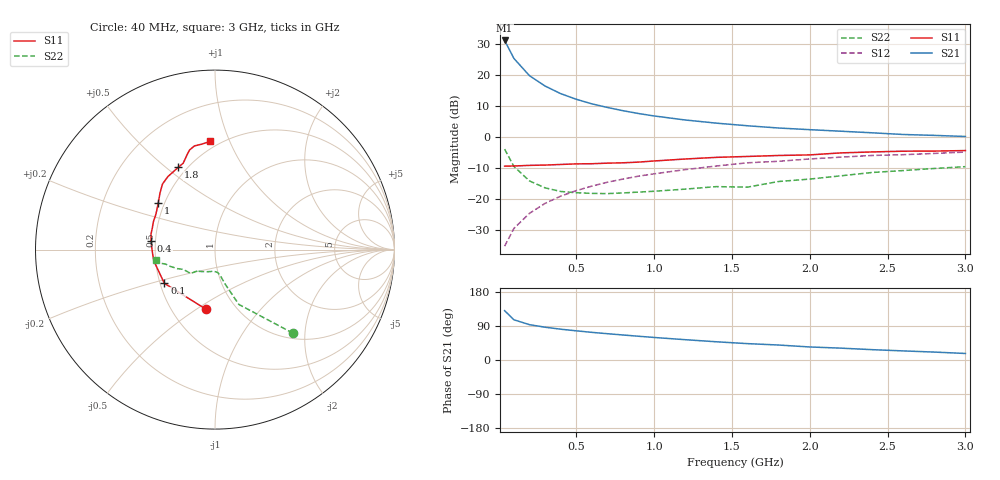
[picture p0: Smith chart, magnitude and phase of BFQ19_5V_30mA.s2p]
! Filename:  BFQ19B.S2P  Version:  2.0
! Philips part #: BFQ19  Date: Jul 1990
! Bias condition: Vce=5V, Ic=30mA
#  MHz  S  MA  R  50
! Freq  S11  S21  S12  S22  !GUM [dB]
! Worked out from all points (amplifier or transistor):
!   21 points, 40 MHz to 3 GHz, reference 50 ohm
!   highest |S21| = 31.3 dB at 40 MHz (marker M1)
!   |S21| within 3 dB of that: start of sweep to 70.79 MHz
!   unconditionally stable (mu >= 1): 245.9 MHz to 1.219 GHz
!   at 300 MHz: K = 1.02, MAG = 18.2 dB, |S12| = -21.5 dB
!   at 1 GHz: K = 1.02, MAG = 8.5 dB, |S12| = -11.9 dB
!   at 3 GHz: K = 0.92, MSG = 2.5 dB, |S12| = -4.9 dB
!   S11 on the Smith chart (normalised r, x): 40 MHz: 0.73, -0.55; 100 MHz: 0.53, -0.22; 400 MHz: 0.47, +0.05; 1 GHz: 0.46, +0.29; 1.8 GHz: 0.45, +0.55; 3 GHz: 0.45, +0.85
40  0.337 -98.2  36.77 130.2  0.017 67.6  0.637 -47.0
100  0.339 -146.4  18.76 106.1  0.033 70.3  0.333 -66.5
200  0.347 -169.7  9.851 93.2  0.058 74.4  0.194 -74.2
300  0.351 179.9  6.703 86.5  0.084 75.4  0.15 -78.1
400  0.359 172.4  5.053 81.3  0.11 75.1  0.131 -82.4
500  0.367 166.2  4.094 77.0  0.135 73.6  0.125 -86.2
600  0.369 161.4  3.453 73.0  0.16 73.1  0.122 -91.3
700  0.377 155.4  3.016 69.4  0.185 71.5  0.121 -95.8
800  0.382 150.1  2.672 66.0  0.208 70.0  0.124 -100.3
900  0.392 145.7  2.404 62.7  0.232 68.5  0.128 -106.3
1000  0.409 140.7  2.196 59.5  0.253 67.0  0.132 -111.2
1200  0.44 134.1  1.889 53.6  0.296 64.2  0.143 -121.2
1400  0.468 128.7  1.679 48.1  0.339 61.3  0.157 -130.2
1600  0.484 122.9  1.522 43.2  0.382 58.1  0.154 -129.7
1800  0.502 114.1  1.4 39.5  0.404 56.3  0.19 -135.5
2000  0.513 110.2  1.316 34.4  0.441 53.4  0.208 -148.0
2200  0.553 106.2  1.242 31.3  0.472 51.1  0.235 -153.2
2400  0.573 104.3  1.171 27.3  0.502 48.5  0.266 -159.4
2600  0.589 101.2  1.099 24.0  0.517 46.0  0.286 -163.5
2800  0.592 97.2  1.063 20.9  0.542 44.3  0.309 -165.7
3000  0.603 92.8  1.02 17.2  0.57 41.6  0.331 -170.0
